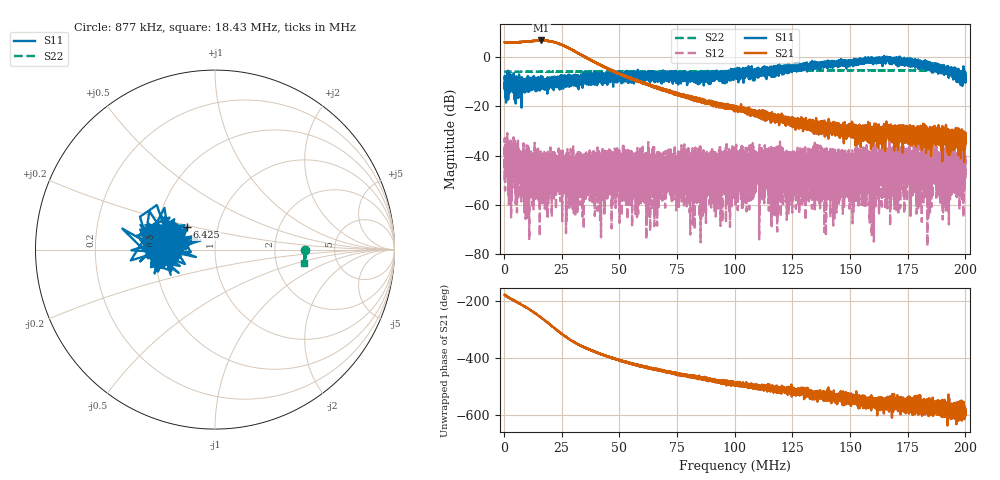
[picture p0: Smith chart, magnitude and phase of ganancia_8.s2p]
# Hz S DB R 50
! CMT, M5065, 19127446, 24.2.4/2
! Date: 10/29/2024 1:06:06 PM
! Data: Format (Calibration Info)
! Freq	S11:dB/Ang(F2)	S21:dB/Ang(F2)	S12:dB/Ang(F2)	S22:dB/Ang(F2)
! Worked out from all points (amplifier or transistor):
!   9000 points, 300 kHz to 200 MHz, reference 50 ohm
!   highest |S21| = 6.7 dB at 16.26 MHz (marker M1)
!   |S21| within 3 dB of that: start of sweep to 27.8 MHz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
!   unconditionally stable (mu >= 1): start of sweep to 164.4 MHz; 166 MHz to 171.5 MHz; 171.5 MHz to end of sweep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
!   at 33.59 MHz: K = 33.63, MAG = 2.5 dB, |S12| = -40.7 dB
!   at 100.2 MHz: K = 595.69, MAG = -17.9 dB, |S12| = -46.2 dB
!   at 200 MHz: K = 980.80, MAG = -29.0 dB, |S12| = -39.0 dB
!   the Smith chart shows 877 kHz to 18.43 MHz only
!   S11 on the Smith chart (normalised r, x): 877 kHz: 0.50, +0.04; 6.425 MHz: 0.71, +0.18; 18.43 MHz: 0.57, +0.01
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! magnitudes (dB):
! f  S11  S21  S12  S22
! 300 kHz  -12.1  5.9  -50.0  -6.0
! 877 kHz  -9.6  6.0  -35.5  -6.0
! 6.425 MHz  -14.0  6.1  -39.4  -6.1
! 9.665 MHz  -11.8  6.3  -46.5  -6.0
! 16.26 MHz  -10.9  6.7  -41.3  -5.9
! 18.43 MHz  -11.3  6.6  -44.5  -6.0
! 31.17 MHz  -10.6  2.1  -50.8  -5.9
! 33.59 MHz  -10.9  0.8  -40.7  -5.9
! 66.87 MHz  -7.6  -12.7  -59.5  -5.8
! 100.2 MHz  -6.1  -20.5  -46.2  -5.7
! 109.3 MHz  -7.9  -22.7  -42.8  -5.7
! 115.4 MHz  -5.8  -24.4  -48.9  -5.6
! 133.4 MHz  -3.5  -26.5  -43.5  -5.4
! 143.6 MHz  -2.1  -28.1  -44.8  -5.4
! 166.7 MHz  -1.0  -31.1  -47.4  -5.4
! 177.4 MHz  -1.8  -27.9  -44.5  -5.5
! 179.8 MHz  -3.4  -33.1  -38.8  -5.5
! 182.2 MHz  -3.4  -35.5  -38.1  -5.5
! 184.4 MHz  -4.0  -34.8  -40.8  -5.5
! 186.3 MHz  -2.8  -32.2  -43.8  -5.5
! 198.7 MHz  -6.9  -34.1  -34.8  -5.5
! 200 MHz  -8.2  -31.2  -39.0  -5.5
